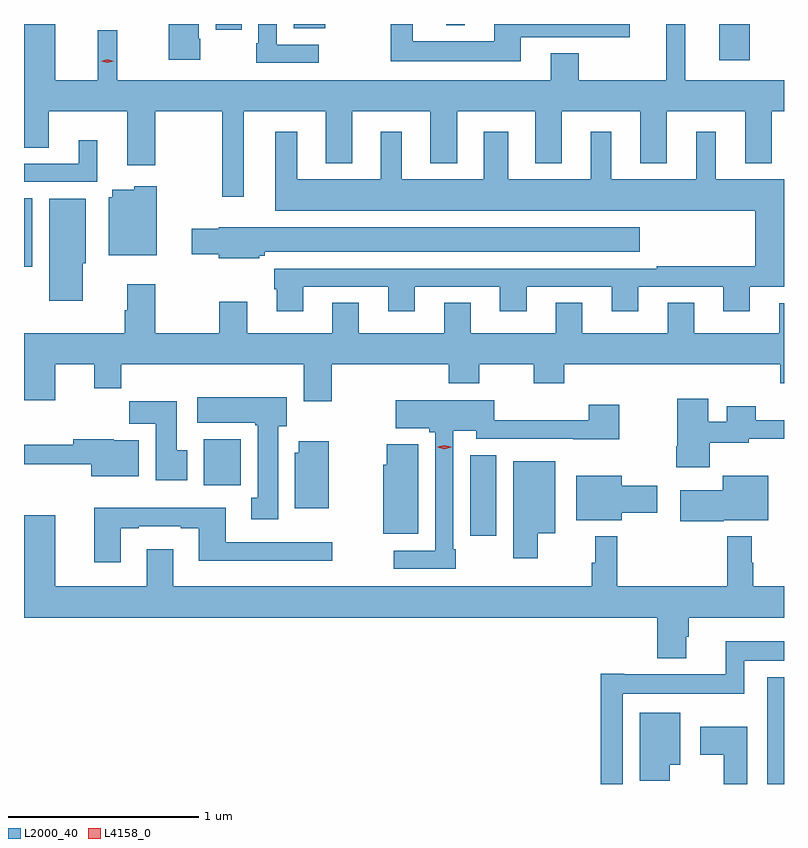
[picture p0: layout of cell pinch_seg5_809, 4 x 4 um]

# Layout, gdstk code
import gdstk
lib = gdstk.Library(unit=1e-6, precision=1e-09)
def R(c, l, rs):  # rectangles x0, y0, x1, y1
    for r in rs: c.add(gdstk.rectangle(r[:2], r[2:], *l))
def P(c, l, *ps):  # polygons
    for p in ps: c.add(gdstk.Polygon(p, *l))
L2000_40 = (2000, 40)
L4158_0 = (4158, 0)

pinch_seg5_809 = lib.new_cell('pinch_seg5_809')
R(pinch_seg5_809, L2000_40, [(768.321,883.856,768.408,884.419), (766.757,885.162,766.894,885.587), (765.353,885.428,765.55,885.67), (764.408,886.578,764.452,886.94), (768.068,887.664,768.227,887.856), (765.416,887.826,765.553,887.856), (765.827,887.833,765.994,887.856), (766.631,887.849,766.729,887.856)])
P(pinch_seg5_809, L2000_40, [(765.958,887.748),(765.738,887.748),(765.738,887.856),(765.642,887.856),(765.642,887.755),(765.63,887.755),(765.63,887.652),(765.958,887.652)],
  [(765.565,887.396),(765.995,887.396),(765.995,887.123),(766.135,887.123),(766.135,887.396),(766.547,887.396),(766.547,887.123),(766.687,887.123),(766.687,887.396),(767.099,887.396),(767.099,887.123),(767.239,887.123),(767.239,887.396),(767.651,887.396),(767.651,887.123),(767.791,887.123),(767.791,887.396),(768.203,887.396),(768.203,887.123),(768.343,887.123),(768.343,887.396),(768.408,887.396),(768.408,887.56),(767.888,887.56),(767.888,887.856),(767.789,887.856),(767.789,887.56),(767.328,887.56),(767.328,887.702),(767.18,887.702),(767.18,887.56),(764.9,887.56),(764.9,887.824),(764.797,887.824),(764.797,887.56),(764.572,887.56),(764.572,887.856),(764.408,887.856),(764.408,887.206),(764.539,887.206),(764.539,887.396),(764.951,887.396),(764.951,887.112),(765.099,887.112),(765.099,887.396),(765.451,887.396),(765.451,886.947),(765.565,886.947)],
  [(767.023,887.787),(767.597,887.787),(767.597,887.856),(766.883,887.856),(766.883,887.764),(766.453,887.764),(766.453,887.856),(766.339,887.856),(766.339,887.66),(767.023,887.66)],
  [(765.336,887.779),(765.328,887.779),(765.328,887.856),(765.17,887.856),(765.17,887.667),(765.336,887.667)],
  [(765.877,886.473),(766.325,886.473),(766.325,886.344),(766.465,886.344),(766.465,886.473),(766.913,886.473),(766.913,886.344),(767.053,886.344),(767.053,886.473),(767.501,886.473),(767.501,886.344),(767.641,886.344),(767.641,886.473),(768.089,886.473),(768.089,886.344),(768.229,886.344),(768.229,886.472),(768.408,886.472),(768.408,887.038),(768.049,887.038),(768.049,887.29),(767.945,887.29),(767.945,887.038),(767.5,887.038),(767.5,887.29),(767.39,887.29),(767.39,887.038),(766.957,887.038),(766.957,887.29),(766.829,887.29),(766.829,887.038),(766.396,887.038),(766.396,887.29),(766.286,887.29),(766.286,887.038),(765.847,887.038),(765.847,887.29),(765.731,887.29),(765.731,886.874),(768.257,886.874),(768.257,886.582),(767.737,886.582),(767.737,886.569),(765.725,886.569),(765.725,886.461),(765.737,886.461),(765.737,886.344),(765.877,886.344)],
  [(764.794,887.245),(764.696,887.245),(764.696,887.121),(764.408,887.121),(764.408,887.025),(764.794,887.025)],
  [(765.106,887.002),(764.988,887.002),(764.988,886.984),(764.873,886.984),(764.873,886.944),(764.855,886.944),(764.855,886.64),(765.106,886.64)],
  [(764.716,886.596),(764.734,886.596),(764.734,886.936),(764.54,886.936),(764.54,886.4),(764.716,886.4)],
  [(765.645,886.636),(765.675,886.636),(765.675,886.658),(767.65,886.658),(767.65,886.786),(765.432,886.786),(765.432,886.778),(765.291,886.778),(765.291,886.643),(765.432,886.643),(765.432,886.622),(765.645,886.622)],
  [(766.643,885.965),(766.803,885.965),(766.803,886.064),(767.092,886.064),(767.092,885.965),(767.252,885.965),(767.252,886.064),(768.389,886.064),(768.389,885.965),(768.408,885.965),(768.408,886.387),(768.383,886.387),(768.383,886.228),(767.935,886.228),(767.935,886.388),(767.795,886.388),(767.795,886.228),(767.347,886.228),(767.347,886.388),(767.207,886.388),(767.207,886.228),(766.759,886.228),(766.759,886.388),(766.619,886.388),(766.619,886.228),(766.171,886.228),(766.171,886.388),(766.031,886.388),(766.031,886.228),(765.583,886.228),(765.583,886.393),(765.436,886.393),(765.436,886.228),(765.099,886.228),(765.099,886.486),(764.951,886.486),(764.951,886.349),(764.939,886.349),(764.939,886.228),(764.408,886.228),(764.408,885.876),(764.572,885.876),(764.572,886.064),(764.777,886.064),(764.777,885.94),(764.921,885.94),(764.921,886.064),(765.881,886.064),(765.881,885.87),(766.029,885.87),(766.029,886.064),(766.643,886.064)],
  [(765.745,885.738),(765.79,885.738),(765.79,885.892),(765.321,885.892),(765.321,885.758),(765.625,885.758),(765.625,885.745),(765.638,885.745),(765.638,885.362),(765.605,885.362),(765.605,885.249),(765.745,885.249)],
  [(768.018,885.653),(768.222,885.653),(768.222,885.672),(768.408,885.672),(768.408,885.77),(768.26,885.77),(768.26,885.844),(768.107,885.844),(768.107,885.763),(768.01,885.763),(768.01,885.883),(767.845,885.883),(767.845,885.634),(767.84,885.634),(767.84,885.522),(768.018,885.522)],
  [(766.681,885.091),(766.668,885.091),(766.668,885.716),(766.788,885.716),(766.788,885.672),(767.299,885.672),(767.299,885.671),(767.541,885.671),(767.541,885.853),(767.381,885.853),(767.381,885.77),(766.884,885.77),(766.884,885.877),(766.365,885.877),(766.365,885.728),(766.542,885.728),(766.542,885.707),(766.572,885.707),(766.572,885.084),(766.353,885.084),(766.353,884.988),(766.681,884.988)],
  [(765.268,885.612),(765.211,885.612),(765.211,885.871),(764.962,885.871),(764.962,885.752),(765.101,885.752),(765.101,885.456),(765.268,885.456)],
  [(765.013,885.664),(764.88,885.664),(764.88,885.67),(764.666,885.67),(764.666,885.642),(764.408,885.642),(764.408,885.538),(764.762,885.538),(764.762,885.476),(765.013,885.476)],
  [(766.012,885.661),(765.854,885.661),(765.854,885.6),(765.833,885.6),(765.833,885.308),(766.012,885.308)],
  [(766.483,885.643),(766.316,885.643),(766.316,885.537),(766.298,885.537),(766.298,885.173),(766.483,885.173)],
  [(767.112,885.176),(767.203,885.176),(767.203,885.556),(766.982,885.556),(766.982,885.045),(767.112,885.045)],
  [(768.09,885.245),(768.325,885.245),(768.325,885.478),(768.086,885.478),(768.086,885.403),(767.862,885.403),(767.862,885.238),(768.09,885.238)],
  [(767.554,885.283),(767.74,885.283),(767.74,885.425),(767.554,885.425),(767.554,885.478),(767.315,885.478),(767.315,885.245),(767.554,885.245)],
  [(764.917,885.201),(765.013,885.201),(765.013,885.213),(765.233,885.213),(765.233,885.201),(765.329,885.201),(765.329,885.032),(766.03,885.032),(766.03,885.129),(765.469,885.129),(765.469,885.31),(764.777,885.31),(764.777,885.024),(764.917,885.024)],
  [(767.893,884.631),(767.906,884.631),(767.906,884.732),(768.408,884.732),(768.408,884.896),(768.245,884.896),(768.245,885.02),(768.238,885.02),(768.238,885.16),(768.11,885.16),(768.11,884.896),(767.531,884.896),(767.531,885.16),(767.414,885.16),(767.414,885.02),(767.395,885.02),(767.395,884.896),(765.193,884.896),(765.193,885.091),(765.053,885.091),(765.053,884.896),(764.572,884.896),(764.572,885.271),(764.408,885.271),(764.408,884.732),(767.741,884.732),(767.741,884.519),(767.893,884.519)],
  [(767.559,884.33),(768.198,884.33),(768.198,884.504),(768.408,884.504),(768.408,884.608),(768.101,884.608),(768.101,884.434),(767.566,884.434),(767.566,884.437),(767.443,884.437),(767.443,883.856),(767.559,883.856)],
  [(767.806,883.958),(767.863,883.958),(767.863,884.23),(767.648,884.23),(767.648,883.872),(767.806,883.872)],
  [(768.214,884.158),(767.967,884.158),(767.967,884.011),(768.092,884.011),(768.092,883.856),(768.214,883.856)])
P(pinch_seg5_809, L4158_0, [(766.62,885.619),(766.585,885.629),(766.585,885.629),(766.585,885.63),(766.62,885.639),(766.656,885.63),(766.656,885.629),(766.656,885.629)],
  [(764.847,887.651),(764.814,887.66),(764.814,887.661),(764.814,887.661),(764.847,887.671),(764.88,887.661),(764.881,887.661),(764.88,887.66)])

lib.write_gds('pinch_seg5_809.gds')
